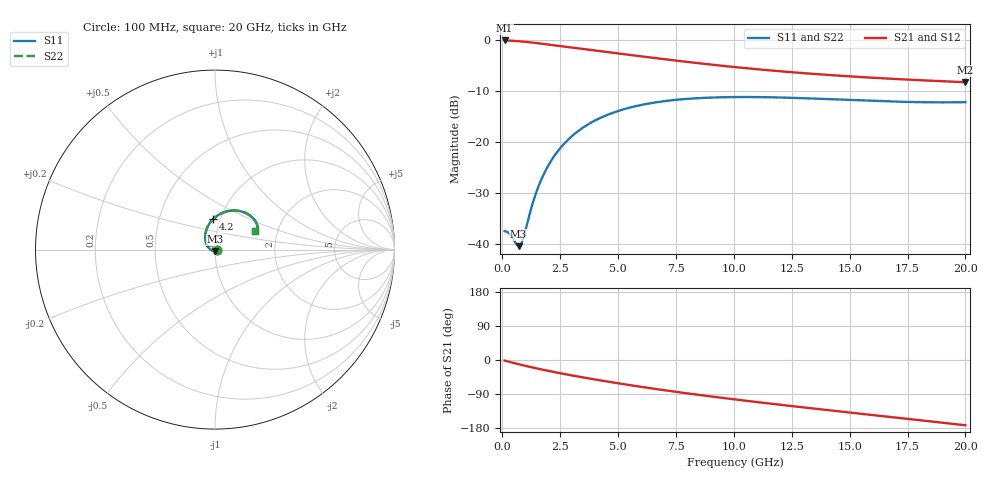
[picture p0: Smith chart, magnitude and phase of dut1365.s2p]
! Touchstone file exported from HFSS 2024.1.0
!  File:  C:/UserFiles/LocalFiles/RDL_TSV_Batchsim/temp_RDL_TSV_1365_1780397447.aedt
!  Generated:  07:05:13 PM Jun  2, 2026
!  Design:  RDL_TSV
!  Project:  temp_RDL_TSV_1365_1780397447
!  Setup:  Setup1
!  Solution:  Sweep
! Variables:
!  dtsv = 11.49um
!  hbump = 3um
!  htsv = 76.44um
!  ldown = 614.22um
!  lrdl = 117.79um
!  p = 40
!  p1 = 48.39um
!  rhole = 10um
!  subl = 2313.82um
!  t = 450um
!  tdown = 2.92um
!  trdl = 3.9um
!  viad = 10um
!  wdown = 20.09um
!  wrdl = 24.34um
!  xbump = 18um
# GHz S MA R 50.000000
! Terminal data exported
! Port[1] = TM1_1_T1
! Port[2] = TM1_4_T1
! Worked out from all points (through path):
!   200 points, 100 MHz to 20 GHz, reference 50 ohm
!   highest |S21| = -0.12 dB at 100 MHz (marker M1); lowest = -8.3 dB at 20 GHz (marker M2)
!   group delay of S21, straight-line fit = 22.4 ps
!   lowest |S11| = -40.4 dB at 700 MHz (marker M3), VSWR 1.02, Z = 50.1 - j0.948 ohm
!   |S11| at or under -10 dB: start of sweep to end of sweep
!   |S22| runs from -40.4 to -11.2 dB; largest |S21 - S12| = 9.5e-15
!   S11 on the Smith chart (normalised r, x): 100 MHz: 1.03, -0.00; 4.2 GHz: 0.92, +0.32; 20 GHz: 1.52, +0.34
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0.1  0.0134 -6.3  0.986 -1.6  0.986 -1.6  0.0134 -6.3
! Gamma 0 0 0 0
! Port Impedance 50 0 50 0
0.3  0.01271 -22.3  0.9825 -4.8  0.9825 -4.8  0.01271 -22.3
0.7  0.009529 -82.9  0.9696 -11.0  0.9696 -11.0  0.009534 -82.9
0.8  0.009817 -105.9  0.9653 -12.5  0.9653 -12.5  0.009821 -105.9
0.9  0.01118 -127.8  0.9608 -14.0  0.9608 -14.0  0.01118 -127.7
1.2  0.02038 -170.5  0.9455 -18.3  0.9455 -18.3  0.02036 -170.5
1.4  0.02894 173.5  0.9344 -21.0  0.9344 -21.0  0.02893 173.6
1.6  0.03855 161.9  0.9227 -23.7  0.9227 -23.7  0.03852 161.9
1.9  0.0541 148.6  0.9049 -27.6  0.9049 -27.6  0.05407 148.6
2.2  0.07036 138.0  0.8869 -31.3  0.8869 -31.3  0.07031 138.0
2.6  0.09223 126.3  0.8634 -36.0  0.8634 -36.0  0.09218 126.3
3  0.1136 116.4  0.8405 -40.6  0.8405 -40.6  0.1135 116.5
3.5  0.1389 105.9  0.8129 -46.1  0.8129 -46.1  0.1388 105.9
4.2  0.1706 93.5  0.776 -53.4  0.776 -53.4  0.1705 93.5
5.4  0.2138 76.5  0.7168 -65.3  0.7168 -65.3  0.2137 76.6
6.8  0.2473 61.5  0.6544 -78.0  0.6544 -78.0  0.2473 61.5
8.4  0.2679 48.6  0.5929 -91.4  0.5929 -91.4  0.2678 48.6
10.1  0.2752 38.5  0.5393 -104.4  0.5393 -104.4  0.2751 38.5
11.7  0.2734 31.6  0.4988 -116.0  0.4988 -116.0  0.2733 31.6
13.4  0.2662 26.7  0.4645 -127.8  0.4645 -127.8  0.2661 26.7
16.7  0.2493 23.2  0.4168 -150.0  0.4168 -150.0  0.2492 23.2
20  0.2452 25.4  0.3843 -172.2  0.3843 -172.2  0.2451 25.5
